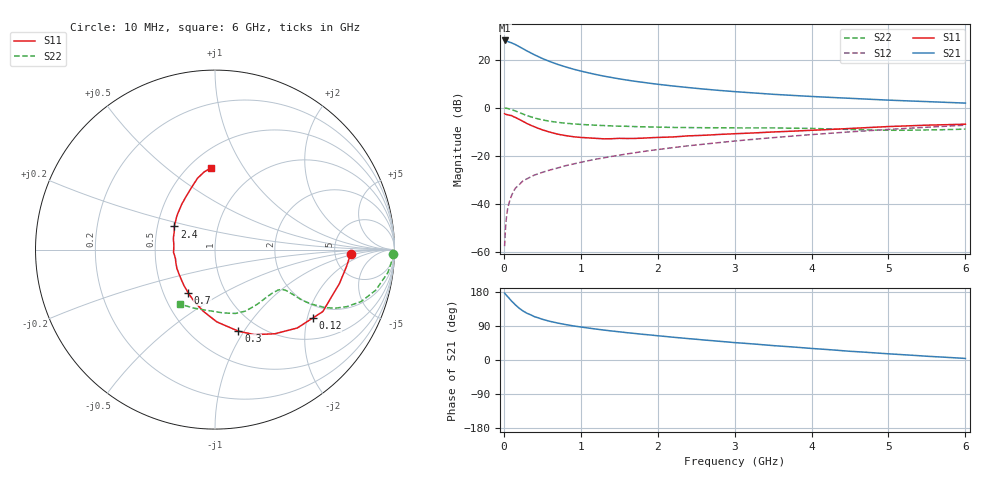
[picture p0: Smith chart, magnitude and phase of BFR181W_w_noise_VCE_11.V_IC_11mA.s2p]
! Infineon Technologies  Discrete & RF Semiconductors
! BFR181W
! VCE =  11. V,  IC =  11 mA
! Common Emitter S-Parameters:  Jan 2017
# GHz  S  MA  R  50
!  f  S11  S21  S12  S22
! GHz  MAG  ANG  MAG  ANG  MAG  ANG  MAG  ANG
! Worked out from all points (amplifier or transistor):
!   77 points, 10 MHz to 6 GHz, reference 50 ohm
!   highest |S21| = 28.2 dB at 10 MHz (marker M1)
!   |S21| within 3 dB of that: start of sweep to 223.6 MHz
!   unconditionally stable (mu >= 1): 1.053 GHz to 3.053 GHz
!   at 130 MHz: K = 0.27, MSG = 30.7 dB, |S12| = -34.7 dB
!   at 2.2 GHz: K = 1.05, MAG = 11.4 dB, |S12| = -16.6 dB
!   at 6 GHz: K = 0.86, MSG = 4.6 dB, |S12| = -7.2 dB
!   lowest NFmin = 1.29 dB at 450 MHz
!   S11 on the Smith chart (normalised r, x): 10 MHz: 7.10, -0.83; 120 MHz: 1.58, -2.16; 300 MHz: 0.81, -0.94; 700 MHz: 0.67, -0.35; 2.4 GHz: 0.61, +0.17; 6 GHz: 0.63, +0.73
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0.01  0.756 -1.9  25.57 176.7  0.0013 79.3  0.9897 -1.3
0.02  0.7388 -7.3  25.03 173.8  0.0028 76.3  0.9916 -2.8
0.05  0.7187 -15.2  24.35 167.1  0.0079 79.7  0.9722 -7.5
0.07  0.7028 -20.9  23.64 162.6  0.0106 78.0  0.9511 -10.1
0.1  0.6929 -29.9  22.87 155.5  0.0147 76.7  0.9234 -14.2
0.12  0.6645 -35.1  22.05 151.7  0.0172 74.1  0.8985 -16.3
0.15  0.6331 -43.6  21.02 145.5  0.0211 71.4  0.8635 -19.6
0.2  0.5759 -54.5  18.99 136.6  0.025 68.3  0.8001 -23.4
0.25  0.5227 -65.0  17.16 129.3  0.0302 64.8  0.7428 -26.1
0.3  0.4728 -74.0  15.45 123.4  0.033 63.7  0.6915 -27.8
0.4  0.4022 -88.7  12.78 114.2  0.0398 62.5  0.6151 -29.5
0.5  0.3489 -100.9  10.75 107.5  0.0451 62.1  0.5624 -30.1
0.7  0.2828 -122.0  8.093 97.5  0.0557 63.9  0.4987 -29.9
0.9  0.2505 -138.9  6.463 90.1  0.0673 64.9  0.4642 -29.9
1.1  0.2368 -153.6  5.387 84.3  0.0792 66.2  0.443 -30.4
1.5  0.2317 -176.3  4.043 74.4  0.103 67.3  0.4158 -33.0
2.1  0.2445 159.6  2.988 62.1  0.1416 66.6  0.3943 -40.5
2.4  0.261 150.4  2.655 56.4  0.1619 65.6  0.3885 -45.4
3.1  0.2933 133.7  2.132 44.5  0.2105 62.3  0.3826 -57.1
4.1  0.3466 115.9  1.702 29.1  0.2847 56.1  0.3689 -74.3
5.1  0.4135 102.8  1.432 15.1  0.3631 48.2  0.3411 -98.6
6  0.457 92.5  1.26 4.1  0.4357 40.0  0.3611 -123.0
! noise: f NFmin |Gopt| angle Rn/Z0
0.45  1.29  0.12  17  0.21
0.9  1.33  0.12  31  0.21
1.9  1.76  0.04  -171  0.2
2.4  1.95  0.05  -122  0.25
